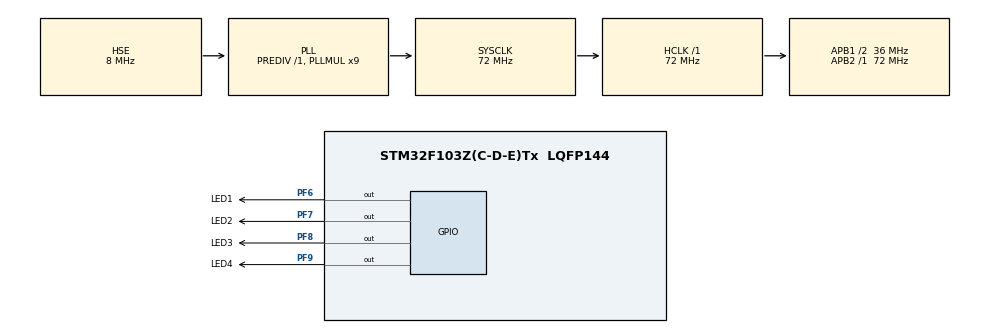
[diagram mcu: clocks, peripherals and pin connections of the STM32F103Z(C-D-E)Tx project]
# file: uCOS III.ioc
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Mcu.Family=STM32F1
Mcu.Name=STM32F103Z(C-D-E)Tx
Mcu.Package=LQFP144
NVIC.PriorityGroup=NVIC_PRIORITYGROUP_4
OSC_IN.Mode=HSE-External-Oscillator
OSC_IN.Signal=RCC_OSC_IN
OSC_OUT.Mode=HSE-External-Oscillator
OSC_OUT.Signal=RCC_OSC_OUT
PF6.GPIO_Label=LED1
PF6.GPIO_ModeDefaultOutputPP=GPIO_MODE_OUTPUT_PP
PF6.PinState=GPIO_PIN_RESET
PF6.Signal=GPIO_Output
PF7.GPIO_Label=LED2
PF7.GPIO_ModeDefaultOutputPP=GPIO_MODE_OUTPUT_PP
PF7.PinState=GPIO_PIN_RESET
PF7.Signal=GPIO_Output
PF8.GPIO_Label=LED3
PF8.GPIO_ModeDefaultOutputPP=GPIO_MODE_OUTPUT_PP
PF8.PinState=GPIO_PIN_RESET
PF8.Signal=GPIO_Output
PF9.GPIO_Label=LED4
PF9.GPIO_ModeDefaultOutputPP=GPIO_MODE_OUTPUT_PP
PF9.PinState=GPIO_PIN_RESET
PF9.Signal=GPIO_Output
ProjectManager.HeapSize=0x400
ProjectManager.StackSize=0x800
ProjectManager.TargetToolchain=MDK-ARM V5
RCC.AHBFreq_Value=72000000
RCC.APB1CLKDivider=RCC_HCLK_DIV2
RCC.APB1Freq_Value=36000000
RCC.APB1TimFreq_Value=72000000
RCC.APB2Freq_Value=72000000
RCC.APB2TimFreq_Value=72000000
RCC.HCLKFreq_Value=72000000
RCC.HSIState=RCC_HSI_ON
RCC.PLLMUL=RCC_PLL_MUL9
RCC.PLLSourceVirtual=RCC_PLLSOURCE_HSE
RCC.SYSCLKFreq_VALUE=72000000
RCC.SYSCLKSource=RCC_SYSCLKSOURCE_PLLCLK
RCC.USBFreq_Value=72000000
VP_SYS_VS_ND.Mode=No_Debug
board=uCOS III

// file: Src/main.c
/**
  ******************************************************************************
  * File Name          : main.c
  * Description        : Main program body
  ******************************************************************************
  *
  * COPYRIGHT(c) 2016 STMicroelectronics
  *
  * Redistribution and use in source and binary forms, with or without modification,
  * are permitted provided that the following conditions are met:
  *   1. Redistributions of source code must retain the above copyright notice,
  *      this list of conditions and the following disclaimer.
  *   2. Redistributions in binary form must reproduce the above copyright notice,
  *      this list of conditions and the following disclaimer in the documentation
  *      and/or other materials provided with the distribution.
  *   3. Neither the name of STMicroelectronics nor the names of its contributors
  *      may be used to endorse or promote products derived from this software
  *      without specific prior written permission.
  *
  * THIS SOFTWARE IS PROVIDED BY THE COPYRIGHT HOLDERS AND CONTRIBUTORS "AS IS"
  * AND ANY EXPRESS OR IMPLIED WARRANTIES, INCLUDING, BUT NOT LIMITED TO, THE
  * IMPLIED WARRANTIES OF MERCHANTABILITY AND FITNESS FOR A PARTICULAR PURPOSE ARE
  * DISCLAIMED. IN NO EVENT SHALL THE COPYRIGHT HOLDER OR CONTRIBUTORS BE LIABLE
  * FOR ANY DIRECT, INDIRECT, INCIDENTAL, SPECIAL, EXEMPLARY, OR CONSEQUENTIAL
  * DAMAGES (INCLUDING, BUT NOT LIMITED TO, PROCUREMENT OF SUBSTITUTE GOODS OR
  * SERVICES; LOSS OF USE, DATA, OR PROFITS; OR BUSINESS INTERRUPTION) HOWEVER
  * CAUSED AND ON ANY THEORY OF LIABILITY, WHETHER IN CONTRACT, STRICT LIABILITY,
  * OR TORT (INCLUDING NEGLIGENCE OR OTHERWISE) ARISING IN ANY WAY OUT OF THE USE
  * OF THIS SOFTWARE, EVEN IF ADVISED OF THE POSSIBILITY OF SUCH DAMAGE.
  *
  ******************************************************************************
  */
#include "main.h"
#include "stm32f1xx_hal.h"
#include "gpio.h"

/* USER CODE BEGIN Includes */
#include "os.h"
/* USER CODE END Includes */

/* USER CODE BEGIN PV */
/* Private variables ---------------------------------------------------------*/
static OS_TCB MyTaskTCB;
static CPU_STK MyTaskStk[STARTUP_TASK_STK_SIZE];     //start task of the stack program
/* USER CODE END PV */

void SystemClock_Config(void);
void Error_Handler(void);

/* USER CODE BEGIN PFP */
/* Private function prototypes -----------------------------------------------*/
static void MyTask(void *p_arg);
/* USER CODE END PFP */

int main(void)
{

  /* USER CODE BEGIN 1 */
  OS_ERR err;
  /* USER CODE END 1 */

  /* MCU Configuration----------------------------------------------------------*/

  /* Reset of all peripherals, Initializes the Flash interface and the Systick. */
  HAL_Init();

  /* Configure the system clock */
  SystemClock_Config();

  /* Initialize all configured peripherals */
  MX_GPIO_Init();

  /* USER CODE BEGIN 2 */
  CPU_Init();
  OSInit(&err);

  OSTaskCreate((OS_TCB *)&MyTaskTCB,
              (CPU_CHAR *)"MyTask",
              (OS_TASK_PTR)&MyTask,
              (void *)0,
              (OS_PRIO) STARTUP_TASK_PRIO,
              (CPU_STK *)&MyTaskStk[0],
              (CPU_STK_SIZE)STARTUP_TASK_STK_SIZE / 10,
              (CPU_STK_SIZE)STARTUP_TASK_STK_SIZE,
              (OS_MSG_QTY)0,
              (OS_TICK)0,
              (void *)0,
              (OS_OPT)(OS_OPT_TASK_STK_CHK | OS_OPT_TASK_STK_CLR),
              (OS_ERR *)&err);

  OSStart(&err);
  /* USER CODE END 2 */

  /* Infinite loop */
  while (1)
  {

  }

}

/** System Clock Configuration
*/
void SystemClock_Config(void)
{

  RCC_OscInitTypeDef RCC_OscInitStruct;
  RCC_ClkInitTypeDef RCC_ClkInitStruct;

    /**Initializes the CPU, AHB and APB busses clocks
    */
  RCC_OscInitStruct.OscillatorType = RCC_OSCILLATORTYPE_HSE;
  RCC_OscInitStruct.HSEState = RCC_HSE_ON;
  RCC_OscInitStruct.HSEPredivValue = RCC_HSE_PREDIV_DIV1;
  RCC_OscInitStruct.HSIState = RCC_HSI_ON;
  RCC_OscInitStruct.PLL.PLLState = RCC_PLL_ON;
  RCC_OscInitStruct.PLL.PLLSource = RCC_PLLSOURCE_HSE;
  RCC_OscInitStruct.PLL.PLLMUL = RCC_PLL_MUL9;
  if (HAL_RCC_OscConfig(&RCC_OscInitStruct) != HAL_OK)
  {
    Error_Handler();
  }

    /**Initializes the CPU, AHB and APB busses clocks
    */
  RCC_ClkInitStruct.ClockType = RCC_CLOCKTYPE_HCLK|RCC_CLOCKTYPE_SYSCLK
                              |RCC_CLOCKTYPE_PCLK1|RCC_CLOCKTYPE_PCLK2;
  RCC_ClkInitStruct.SYSCLKSource = RCC_SYSCLKSOURCE_PLLCLK;
  RCC_ClkInitStruct.AHBCLKDivider = RCC_SYSCLK_DIV1;
  RCC_ClkInitStruct.APB1CLKDivider = RCC_HCLK_DIV2;
  RCC_ClkInitStruct.APB2CLKDivider = RCC_HCLK_DIV1;

  if (HAL_RCC_ClockConfig(&RCC_ClkInitStruct, FLASH_LATENCY_2) != HAL_OK)
  {
    Error_Handler();
  }

    /**Configure the Systick interrupt time
    */
  HAL_SYSTICK_Config(HAL_RCC_GetHCLKFreq()/1000);

    /**Configure the Systick
    */
  HAL_SYSTICK_CLKSourceConfig(SYSTICK_CLKSOURCE_HCLK);

  /* SysTick_IRQn interrupt configuration */
  HAL_NVIC_SetPriority(SysTick_IRQn, 0, 0);
}

/* USER CODE BEGIN 4 */
static void MyTask(void *p_arg)
{
  OS_ERR err;
  (void) p_arg;
  SysTick_Config(SystemCoreClock / 1000);      //start Systick clock ,uCOS time base 1ms

  while (1)
  {
    BSP_LED_Toggle(LED1);
    OSTimeDly((OS_TICK)1000, (OS_OPT)OS_OPT_TIME_DLY, (OS_ERR*)&err);
  }
}
/* USER CODE END 4 */

void Error_Handler(void)
{
  while(1)
  {
  }
}

/************************ (C) COPYRIGHT STMicroelectronics *****END OF FILE****/
